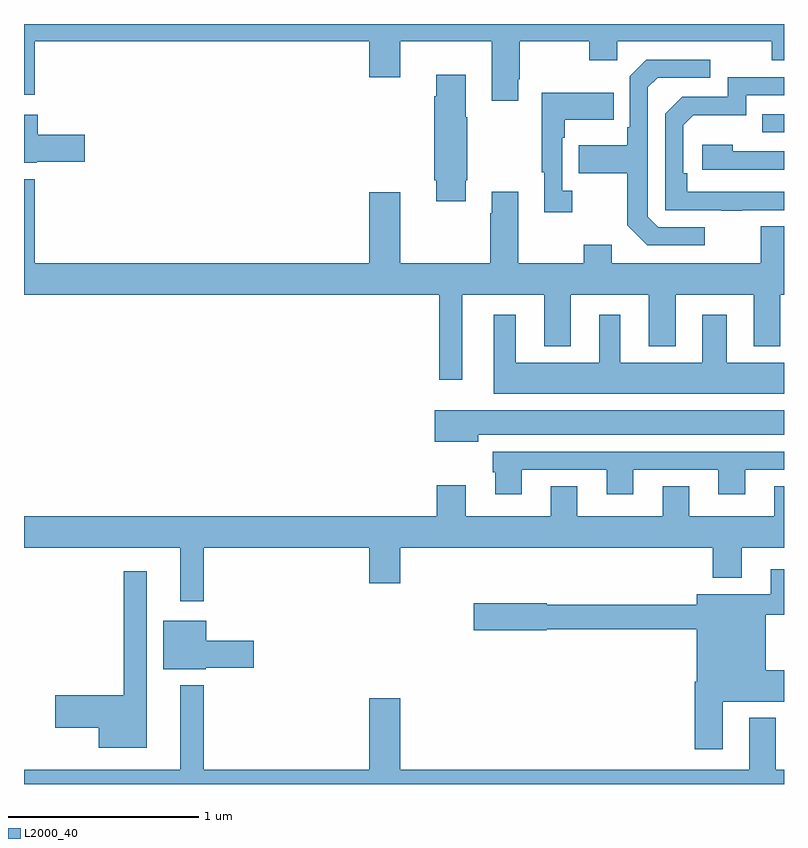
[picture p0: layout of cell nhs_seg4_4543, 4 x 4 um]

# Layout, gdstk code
import gdstk
lib = gdstk.Library(unit=1e-6, precision=1e-09)
def R(c, l, rs):  # rectangles x0, y0, x1, y1
    for r in rs: c.add(gdstk.rectangle(r[:2], r[2:], *l))
def P(c, l, *ps):  # polygons
    for p in ps: c.add(gdstk.Polygon(p, *l))
L2000_40 = (2000, 40)

nhs_seg4_4543 = lib.new_cell('nhs_seg4_4543')
R(nhs_seg4_4543, L2000_40, [(358.885,808.329,359,808.425)])
P(nhs_seg4_4543, L2000_40, [(355,808.527),(355.057,808.527),(355.057,808.808),(356.816,808.808),(356.816,808.62),(356.98,808.62),(356.98,808.808),(357.461,808.808),(357.461,808.497),(357.601,808.497),(357.601,808.609),(357.609,808.609),(357.609,808.808),(357.976,808.808),(357.976,808.709),(358.122,808.709),(358.122,808.808),(358.936,808.808),(358.936,808.709),(359,808.709),(359,808.9),(355,808.9)],
  [(358.582,807.831),(358.338,807.831),(358.284,807.885),(358.284,808.566),(358.335,808.617),(358.612,808.617),(358.612,808.713),(358.275,808.713),(358.188,808.626),(358.188,808.357),(358.176,808.357),(358.176,808.261),(357.919,808.261),(357.919,808.114),(358.176,808.114),(358.176,807.841),(358.281,807.735),(358.582,807.735)],
  [(357.325,808.078),(357.333,808.078),(357.333,808.409),(357.325,808.409),(357.325,808.633),(357.17,808.633),(357.17,808.52),(357.158,808.52),(357.158,808.078),(357.17,808.078),(357.17,807.966),(357.325,807.966)],
  [(358.781,807.921),(359,807.921),(359,808.017),(358.49,808.017),(358.49,808.114),(358.47,808.114),(358.47,808.368),(358.523,808.421),(358.8,808.421),(358.8,808.524),(359,808.524),(359,808.62),(358.704,808.62),(358.704,808.518),(358.464,808.518),(358.374,808.428),(358.374,807.921),(358.669,807.921),(358.669,807.916),(358.781,807.916)],
  [(357.886,808.022),(357.834,808.022),(357.834,808.301),(357.847,808.301),(357.847,808.397),(358.103,808.397),(358.103,808.537),(357.726,808.537),(357.726,808.121),(357.737,808.121),(357.737,807.909),(357.886,807.909)],
  [(355.068,808.175),(355.321,808.175),(355.321,808.317),(355.072,808.317),(355.072,808.423),(355,808.423),(355,808.169),(355.068,808.169)],
  [(359,808.23),(358.73,808.23),(358.73,808.264),(358.569,808.264),(358.569,808.134),(359,808.134)],
  [(357.307,807.476),(357.737,807.476),(357.737,807.203),(357.877,807.203),(357.877,807.476),(358.289,807.476),(358.289,807.203),(358.429,807.203),(358.429,807.476),(358.841,807.476),(358.841,807.203),(358.981,807.203),(358.981,807.476),(359,807.476),(359,807.835),(358.877,807.835),(358.877,807.64),(358.093,807.64),(358.093,807.739),(357.946,807.739),(357.946,807.64),(357.601,807.64),(357.601,808.018),(357.461,808.018),(357.461,807.905),(357.454,807.905),(357.454,807.64),(356.98,807.64),(356.98,808.015),(356.816,808.015),(356.816,807.64),(355.057,807.64),(355.057,808.084),(355,808.084),(355,807.476),(357.186,807.476),(357.186,807.027),(357.307,807.027)],
  [(359,807.118),(358.699,807.118),(358.699,807.37),(358.571,807.37),(358.571,807.118),(358.138,807.118),(358.138,807.37),(358.028,807.37),(358.028,807.118),(357.589,807.118),(357.589,807.37),(357.473,807.37),(357.473,806.954),(359,806.954)],
  [(357.391,806.738),(359,806.738),(359,806.866),(357.162,806.866),(357.162,806.702),(357.391,806.702)],
  [(357.619,806.553),(358.067,806.553),(358.067,806.424),(358.207,806.424),(358.207,806.553),(358.655,806.553),(358.655,806.424),(358.795,806.424),(358.795,806.553),(359,806.553),(359,806.649),(357.467,806.649),(357.467,806.541),(357.479,806.541),(357.479,806.424),(357.619,806.424)],
  [(355.945,806.144),(356.816,806.144),(356.816,805.956),(356.98,805.956),(356.98,806.144),(358.625,806.144),(358.625,805.985),(358.777,805.985),(358.777,806.144),(359,806.144),(359,806.468),(358.949,806.468),(358.949,806.308),(358.501,806.308),(358.501,806.468),(358.361,806.468),(358.361,806.308),(357.913,806.308),(357.913,806.468),(357.773,806.468),(357.773,806.308),(357.325,806.308),(357.325,806.473),(357.173,806.473),(357.173,806.308),(355,806.308),(355,806.144),(355.823,806.144),(355.823,805.863),(355.945,805.863)],
  [(358.678,805.334),(359,805.334),(359,805.498),(358.903,805.498),(358.903,805.791),(359,805.791),(359,806.029),(358.931,806.029),(358.931,805.9),(358.541,805.9),(358.541,805.843),(357.75,805.843),(357.75,805.851),(357.366,805.851),(357.366,805.709),(357.75,805.709),(357.75,805.714),(358.541,805.714),(358.541,805.438),(358.529,805.438),(358.529,805.083),(358.678,805.083)],
  [(355.645,806.02),(355.524,806.02),(355.524,805.367),(355.164,805.367),(355.164,805.196),(355.394,805.196),(355.394,805.091),(355.645,805.091)],
  [(355.956,805.511),(356.209,805.511),(356.209,805.653),(355.96,805.653),(355.96,805.759),(355.733,805.759),(355.733,805.505),(355.956,805.505)],
  [(356.98,805.351),(356.816,805.351),(356.816,804.976),(355.945,804.976),(355.945,805.42),(355.823,805.42),(355.823,804.976),(355,804.976),(355,804.9),(359,804.9),(359,804.976),(358.957,804.976),(358.957,805.249),(358.817,805.249),(358.817,804.976),(356.98,804.976)])

lib.write_gds('nhs_seg4_4543.gds')
